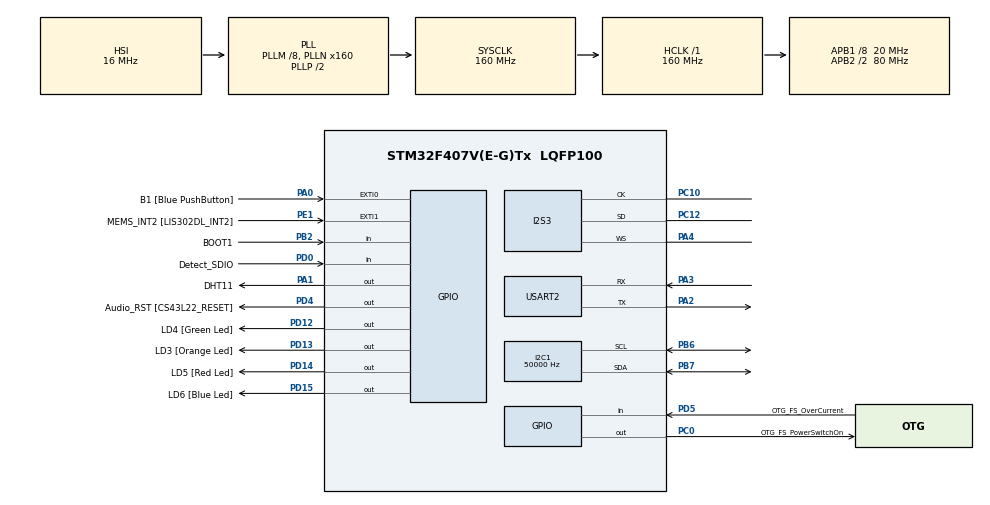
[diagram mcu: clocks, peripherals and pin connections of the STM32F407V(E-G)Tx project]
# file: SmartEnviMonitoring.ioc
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Dma.Request0=USART2_RX
Dma.USART2_RX.0.Direction=DMA_PERIPH_TO_MEMORY
Dma.USART2_RX.0.FIFOMode=DMA_FIFOMODE_DISABLE
Dma.USART2_RX.0.Instance=DMA1_Stream5
Dma.USART2_RX.0.MemDataAlignment=DMA_MDATAALIGN_BYTE
Dma.USART2_RX.0.MemInc=DMA_MINC_ENABLE
Dma.USART2_RX.0.Mode=DMA_NORMAL
Dma.USART2_RX.0.PeriphDataAlignment=DMA_PDATAALIGN_BYTE
Dma.USART2_RX.0.PeriphInc=DMA_PINC_DISABLE
Dma.USART2_RX.0.Priority=DMA_PRIORITY_LOW
I2C1.ClockSpeed=50000
I2S3.AudioFreq=I2S_AUDIOFREQ_32K
I2S3.ErrorAudioFreq=-0.26 %
I2S3.FullDuplexMode=I2S_FULLDUPLEXMODE_DISABLE
I2S3.Instance=SPI$Index
I2S3.RealAudioFreq=31.914 KHz
I2S3.VirtualMode=I2S_MODE_MASTER
Mcu.Family=STM32F4
Mcu.Name=STM32F407V(E-G)Tx
Mcu.Package=LQFP100
NVIC.DMA1_Stream5_IRQn=true\:6\:0\:true\:false\:true\:false\:true\:true
NVIC.PriorityGroup=NVIC_PRIORITYGROUP_4
NVIC.TIM6_DAC_IRQn=true\:0\:0\:true\:false\:true\:false\:true\:true
NVIC.TIM7_IRQn=true\:5\:0\:true\:false\:true\:true\:true\:true
NVIC.TIM8_UP_TIM13_IRQn=true\:5\:0\:true\:false\:true\:true\:true\:true
NVIC.TimeBase=TIM6_DAC_IRQn
NVIC.TimeBaseIP=TIM6
NVIC.USART2_IRQn=true\:5\:0\:true\:false\:true\:true\:true\:true
PA0-WKUP.GPIO_Label=B1 [Blue PushButton]
PA0-WKUP.Signal=GPXTI0
PA1.GPIO_Label=DHT11
PA1.PinState=GPIO_PIN_RESET
PA1.Signal=GPIO_Output
PA10.GPIO_Label=OTG_FS_ID
PA10.GPIO_Mode=GPIO_MODE_AF_PP
PA10.GPIO_PuPd=GPIO_NOPULL
PA10.GPIO_Speed=GPIO_SPEED_FREQ_LOW
PA10.Signal=USB_OTG_FS_ID
PA11.GPIO_Label=OTG_FS_DM
PA11.GPIO_Mode=GPIO_MODE_AF_PP
PA11.GPIO_PuPd=GPIO_NOPULL
PA11.GPIO_Speed=GPIO_SPEED_FREQ_LOW
PA11.Signal=USB_OTG_FS_DM
PA12.GPIO_Label=OTG_FS_DP
PA12.GPIO_Mode=GPIO_MODE_AF_PP
PA12.GPIO_PuPd=GPIO_NOPULL
PA12.GPIO_Speed=GPIO_SPEED_FREQ_LOW
PA12.Signal=USB_OTG_FS_DP
PA13.GPIO_Label=SWDIO
PA13.Signal=SYS_JTMS-SWDIO
PA14.GPIO_Label=SWCLK
PA14.Signal=SYS_JTCK-SWCLK
PA2.Mode=Asynchronous
PA2.Signal=USART2_TX
PA3.Mode=Asynchronous
PA3.Signal=USART2_RX
PA4.Mode=Half_Duplex_Master
PA4.Signal=I2S3_WS
PA9.GPIO_Label=VBUS_FS
PA9.GPIO_Mode=GPIO_MODE_INPUT
PA9.GPIO_PuPd=GPIO_NOPULL
PA9.Signal=USB_OTG_FS_VBUS
PB10.GPIO_Label=CLK_IN [MP45DT02_CLK]
PB10.GPIO_Mode=GPIO_MODE_AF_PP
PB10.GPIO_PuPd=GPIO_NOPULL
PB10.GPIO_Speed=GPIO_SPEED_FREQ_LOW
PB10.Signal=I2S2_CK
PB2.GPIO_Label=BOOT1
PB2.GPIO_Mode=GPIO_MODE_INPUT
PB2.GPIO_PuPd=GPIO_NOPULL
PB2.Signal=GPIO_Input
PB3.GPIO_Label=SWO
PB3.Signal=SYS_JTDO-SWO
PB6.GPIO_Mode=GPIO_MODE_AF_OD
PB6.GPIO_Pu=GPIO_NOPULL
PB6.GPIO_PuPd=GPIO_NOPULL
PB6.GPIO_Speed=GPIO_SPEED_FREQ_VERY_HIGH
PB6.Mode=I2C
PB6.Signal=I2C1_SCL
PB7.GPIO_Pu=GPIO_NOPULL
PB7.Mode=I2C
PB7.Signal=I2C1_SDA
PC0.GPIO_Label=OTG_FS_PowerSwitchOn
PC0.GPIO_PuPd=GPIO_NOPULL
PC0.GPIO_Speed=GPIO_SPEED_FREQ_LOW
PC0.PinState=GPIO_PIN_SET
PC0.Signal=GPIO_Output
PC10.Mode=Half_Duplex_Master
PC10.Signal=I2S3_CK
PC12.Mode=Half_Duplex_Master
PC12.Signal=I2S3_SD
PC14-OSC32_IN.GPIO_Label=PC14-OSC32_IN
PC14-OSC32_IN.Signal=RCC_OSC32_IN
PC15-OSC32_OUT.GPIO_Label=PC15-OSC32_OUT
PC15-OSC32_OUT.Signal=RCC_OSC32_OUT
PD0.GPIO_Label=Detect_SDIO
PD0.Signal=GPIO_Input
PD12.GPIO_Label=LD4 [Green Led]
PD12.GPIO_PuPd=GPIO_NOPULL
PD12.GPIO_Speed=GPIO_SPEED_FREQ_LOW
PD12.Signal=GPIO_Output
PD13.GPIO_Label=LD3 [Orange Led]
PD13.GPIO_PuPd=GPIO_NOPULL
PD13.GPIO_Speed=GPIO_SPEED_FREQ_LOW
PD13.Signal=GPIO_Output
PD14.GPIO_Label=LD5 [Red Led]
PD14.GPIO_PuPd=GPIO_NOPULL
PD14.GPIO_Speed=GPIO_SPEED_FREQ_LOW
PD14.Signal=GPIO_Output
PD15.GPIO_Label=LD6 [Blue Led]
PD15.GPIO_PuPd=GPIO_NOPULL
PD15.GPIO_Speed=GPIO_SPEED_FREQ_LOW
PD15.Signal=GPIO_Output
PD4.GPIO_Label=Audio_RST [CS43L22_RESET]
PD4.GPIO_PuPd=GPIO_NOPULL
PD4.GPIO_Speed=GPIO_SPEED_FREQ_LOW
PD4.Signal=GPIO_Output
PD5.GPIO_Label=OTG_FS_OverCurrent
PD5.GPIO_Mode=GPIO_MODE_INPUT
PD5.GPIO_PuPd=GPIO_NOPULL
PD5.Signal=GPIO_Input
PE1.GPIO_Label=MEMS_INT2 [LIS302DL_INT2]
PE1.GPIO_ModeDefaultEXTI=GPIO_MODE_EVT_RISING
PE1.GPIO_PuPd=GPIO_NOPULL
PE1.Signal=GPXTI1
PH0-OSC_IN.GPIO_Label=PH0-OSC_IN
PH0-OSC_IN.Signal=RCC_OSC_IN
PH1-OSC_OUT.GPIO_Label=PH1-OSC_OUT
PH1-OSC_OUT.Signal=RCC_OSC_OUT
ProjectManager.HeapSize=0x200
ProjectManager.StackSize=0x400
ProjectManager.TargetToolchain=STM32CubeIDE
RCC.48MHZClocksFreq_Value=40000000
RCC.AHBFreq_Value=160000000
RCC.APB1CLKDivider=RCC_HCLK_DIV8
RCC.APB1Freq_Value=20000000
RCC.APB1TimFreq_Value=40000000
RCC.APB2CLKDivider=RCC_HCLK_DIV2
RCC.APB2Freq_Value=80000000
RCC.APB2TimFreq_Value=160000000
RCC.CortexFreq_Value=160000000
RCC.HCLKFreq_Value=160000000
RCC.HSE_VALUE=8000000
RCC.HSI_VALUE=16000000
RCC.LSE_VALUE=32768
RCC.PLLM=8
RCC.PLLN=160
RCC.PLLQ=8
RCC.SYSCLKFreq_VALUE=160000000
RCC.SYSCLKSource=RCC_SYSCLKSOURCE_PLLCLK
RCC.VCOOutputFreq_Value=320000000
RTC.Format=RTC_FORMAT_BIN
TIM13.Prescaler=40000 - 1
TIM7.Prescaler=40 - 1
USART2.VirtualMode=VM_ASYNC
VP_RTC_VS_RTC_Activate.Mode=RTC_Enabled
VP_RTC_VS_RTC_Calendar.Mode=RTC_Calendar
VP_SYS_VS_tim6.Mode=TIM6
VP_TIM13_VS_ClockSourceINT.Mode=Enable_Timer
VP_TIM7_VS_ClockSourceINT.Mode=Enable_Timer
board=STM32F407G-DISC1

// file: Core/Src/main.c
/* USER CODE BEGIN Header */
/**
 ******************************************************************************
 * @file           : main.c
 * @brief          : Main program body
 ******************************************************************************
 * @attention
 *
 * Copyright (c) 2024 STMicroelectronics.
 * All rights reserved.
 *
 * This software is licensed under terms that can be found in the LICENSE file
 * in the root directory of this software component.
 * If no LICENSE file comes with this software, it is provided AS-IS.
 *
 ******************************************************************************
 */
/* USER CODE END Header */
#include "main.h"

/* USER CODE BEGIN Includes */
#include <stdio.h>
#include <stdbool.h>
#include <stdint.h>
#include <string.h>
#include <stdlib.h>

#include "FreeRTOS.h"
#include "FreeRTOSConfig.h"
#include "task.h"
#include "semphr.h"
#include "timers.h"

#include "dht11.h"
#include "lcd.h"
#include "utils.h"
#include "esp32at.h"
#include "config_storage.h"
#include "ble_config.h"
#include "comm.h"
#if defined(__has_include)
#if __has_include("local_config.h")
#include "local_config.h"
#endif
#endif
/* USER CODE END Includes */

/* USER CODE BEGIN PD */

//esp
#define RECV_BUFFER_NUM 5
#define RECV_BUFFER_SIZE 300
#define SEND_BUFFER_SIZE 256
#define WAIT_RES_TIMEOUTMS ((uint16_t)15000)
#define RECONNECT_DELAY_MS ((uint16_t)5000)
#define URL_BUFFER_SIZE 128
#ifndef WIFI_SSID
#define WIFI_SSID ""
#endif
#ifndef WIFI_PASS
#define WIFI_PASS ""
#endif
#ifndef DEFAULT_SERVER_IP
#define DEFAULT_SERVER_IP "192.168.50.135"
#endif
#ifndef DEFAULT_MQTT_PORT
#define DEFAULT_MQTT_PORT "1883"
#endif
#ifndef HTTP_PORT_STR
#define HTTP_PORT_STR "8080"
#endif
#ifndef HTTP_DEVICE_PATH
#define HTTP_DEVICE_PATH "/api/device"
#endif
#ifndef HTTP_WEATHER_PATH
#define HTTP_WEATHER_PATH "/api/weather"
#endif
#ifndef MQTT_ENABLED
#define MQTT_ENABLED 0
#endif

char http_device_url[URL_BUFFER_SIZE] = "http://" DEFAULT_SERVER_IP ":" HTTP_PORT_STR HTTP_DEVICE_PATH;
char http_weather_url[URL_BUFFER_SIZE] = "http://" DEFAULT_SERVER_IP ":" HTTP_PORT_STR HTTP_WEATHER_PATH;
char server_ip[CONFIG_STORAGE_MAX_IP_LEN] = DEFAULT_SERVER_IP;
char mqtt_port[] = DEFAULT_MQTT_PORT;

/* USER CODE END PD */

I2C_HandleTypeDef hi2c1;

I2S_HandleTypeDef hi2s3;

RTC_HandleTypeDef hrtc;

TIM_HandleTypeDef htim7;
TIM_HandleTypeDef htim13;

UART_HandleTypeDef huart2;
DMA_HandleTypeDef hdma_usart2_rx;

/* USER CODE BEGIN PV */

/* system */
char device_id[DEVICE_UID_LEN];
DateTime_t query_time;
TimerHandle_t mstim;
volatile bool server_ready = false;
static char pending_server_ip[CONFIG_STORAGE_MAX_IP_LEN];
static volatile bool pending_ip_update = false;
static bool pending_ip_persist = false;
static bool pending_ip_reconnect = false;

/* lcd */
SemaphoreHandle_t lcd_mutex;
LCDContent_t lcd_content;
SemaphoreHandle_t config_mutex;

/* measurement */
DHT11Handle dht;
uint8_t tempc = 0;
uint8_t humidity = 0;
uint32_t meas_intv_sec = 10;

/* esp at */
CommHandle_t hcomm;
uint8_t send_buffer[SEND_BUFFER_SIZE];
uint16_t send_data_len = 0;
uint8_t recv_buffers[RECV_BUFFER_NUM][RECV_BUFFER_SIZE];
uint16_t recv_sizes[RECV_BUFFER_NUM] = {0};
static volatile bool uart2_rx_restart = false;

volatile int recv_buffer_idx = 0;
volatile int recv_read_idx = 0;

volatile uint32_t meas_send_count = 0;
volatile uint32_t meas_recv_count = 0;

/* os */
const char *INIT_TASK_NAME = "Init";
const char *MEAS_TASK_NAME = "Meas";
const char *ESP_RECV_TASK_NAME = "EspRecv";
TaskHandle_t meas_htask;
TaskHandle_t recv_htask;
TaskHandle_t init_htask;
/* USER CODE END PV */

void SystemClock_Config(void);
static void MX_GPIO_Init(void);
static void MX_DMA_Init(void);
static void MX_I2C1_Init(void);
static void MX_RTC_Init(void);
static void MX_USART2_UART_Init(void);
static void MX_TIM7_Init(void);
static void MX_TIM13_Init(void);
static void MX_I2S3_Init(void);
/* USER CODE BEGIN PFP */
BaseType_t RTC_SetValue(DateTime_t *datetime);
BaseType_t ESP32AT_InitWrapper(void);
BaseType_t Server_Conn(CommHandle_t *hcomm);
BaseType_t Web_Fetch_Time(CommHandle_t *hcomm, DateTime_t *datetime);
void Build_Weather_Message(char* msg, const char* prefix, uint8_t value);
static void Ble_Apply_Ip(const char* ip, bool persist, bool reconnect);
static bool Apply_Server_Ip_Internal(const char* ip, bool persist, bool reconnect);
static bool Build_Http_Urls(const char* ip);
static bool Try_Server_Connect(bool sync_time);

void Init_Task(void* arg);
//runtime
void Meas_Task(void* arg);
void Esp_Rec_Task(void* arg);
/* USER CODE END PFP */

int main(void)
{

  /* MCU Configuration--------------------------------------------------------*/

  /* Reset of all peripherals, Initializes the Flash interface and the Systick. */
  HAL_Init();

  /* Configure the system clock */
  SystemClock_Config();

  /* Initialize all configured peripherals */
  MX_GPIO_Init();
  MX_DMA_Init();
  MX_I2C1_Init();
  MX_RTC_Init();
  MX_USART2_UART_Init();
  MX_TIM7_Init();
  MX_TIM13_Init();
  MX_I2S3_Init();
  /* USER CODE BEGIN 2 */
	ESP32AT_SetUart(&huart2);

	LCD_Init(&hi2c1);
	LCD_SetContent_Refresh(&hi2c1, &lcd_content, "Init...", ".");

	BaseType_t status = pdPASS;
	config_mutex = xSemaphoreCreateMutex();
	configASSERT(config_mutex != NULL);
	Ble_Config_SetApplyFn(Ble_Apply_Ip);
	//create the initializing task
	status &= xTaskCreate(Init_Task, INIT_TASK_NAME,
			(configSTACK_DEPTH_TYPE)4096, NULL, 2, &init_htask);
	configASSERT(status == pdPASS);

	//create measuring task
	status &= xTaskCreate(Meas_Task, MEAS_TASK_NAME,
			(configSTACK_DEPTH_TYPE)4096, NULL, 1, &meas_htask);
	configASSERT(status == pdPASS);

	//create the task for receiving response from esp32
	status &= xTaskCreate(Esp_Rec_Task, ESP_RECV_TASK_NAME,
			(configSTACK_DEPTH_TYPE)4096, NULL, 3, &recv_htask);
	configASSERT(status == pdPASS);

	vTaskStartScheduler();
  /* USER CODE END 2 */

  /* Infinite loop */
	while (1) {

	}
}

void SystemClock_Config(void)
{
  RCC_OscInitTypeDef RCC_OscInitStruct = {0};
  RCC_ClkInitTypeDef RCC_ClkInitStruct = {0};

  /** Configure the main internal regulator output voltage
  */
  __HAL_RCC_PWR_CLK_ENABLE();
  __HAL_PWR_VOLTAGESCALING_CONFIG(PWR_REGULATOR_VOLTAGE_SCALE1);

  /** Initializes the RCC Oscillators according to the specified parameters
  * in the RCC_OscInitTypeDef structure.
  */
  RCC_OscInitStruct.OscillatorType = RCC_OSCILLATORTYPE_HSI|RCC_OSCILLATORTYPE_LSI;
  RCC_OscInitStruct.HSIState = RCC_HSI_ON;
  RCC_OscInitStruct.HSICalibrationValue = RCC_HSICALIBRATION_DEFAULT;
  RCC_OscInitStruct.LSIState = RCC_LSI_ON;
  RCC_OscInitStruct.PLL.PLLState = RCC_PLL_ON;
  RCC_OscInitStruct.PLL.PLLSource = RCC_PLLSOURCE_HSI;
  RCC_OscInitStruct.PLL.PLLM = 8;
  RCC_OscInitStruct.PLL.PLLN = 160;
  RCC_OscInitStruct.PLL.PLLP = RCC_PLLP_DIV2;
  RCC_OscInitStruct.PLL.PLLQ = 8;
  if (HAL_RCC_OscConfig(&RCC_OscInitStruct) != HAL_OK)
  {
    Error_Handler();
  }

  /** Initializes the CPU, AHB and APB buses clocks
  */
  RCC_ClkInitStruct.ClockType = RCC_CLOCKTYPE_HCLK|RCC_CLOCKTYPE_SYSCLK
                              |RCC_CLOCKTYPE_PCLK1|RCC_CLOCKTYPE_PCLK2;
  RCC_ClkInitStruct.SYSCLKSource = RCC_SYSCLKSOURCE_PLLCLK;
  RCC_ClkInitStruct.AHBCLKDivider = RCC_SYSCLK_DIV1;
  RCC_ClkInitStruct.APB1CLKDivider = RCC_HCLK_DIV8;
  RCC_ClkInitStruct.APB2CLKDivider = RCC_HCLK_DIV2;

  if (HAL_RCC_ClockConfig(&RCC_ClkInitStruct, FLASH_LATENCY_5) != HAL_OK)
  {
    Error_Handler();
  }
}

static void MX_I2C1_Init(void)
{

  hi2c1.Instance = I2C1;
  hi2c1.Init.ClockSpeed = 50000;
  hi2c1.Init.DutyCycle = I2C_DUTYCYCLE_2;
  hi2c1.Init.OwnAddress1 = 0;
  hi2c1.Init.AddressingMode = I2C_ADDRESSINGMODE_7BIT;
  hi2c1.Init.DualAddressMode = I2C_DUALADDRESS_DISABLE;
  hi2c1.Init.OwnAddress2 = 0;
  hi2c1.Init.GeneralCallMode = I2C_GENERALCALL_DISABLE;
  hi2c1.Init.NoStretchMode = I2C_NOSTRETCH_DISABLE;
  if (HAL_I2C_Init(&hi2c1) != HAL_OK)
  {
    Error_Handler();
  }

}

static void MX_I2S3_Init(void)
{

  hi2s3.Instance = SPI3;
  hi2s3.Init.Mode = I2S_MODE_MASTER_TX;
  hi2s3.Init.Standard = I2S_STANDARD_PHILIPS;
  hi2s3.Init.DataFormat = I2S_DATAFORMAT_16B;
  hi2s3.Init.MCLKOutput = I2S_MCLKOUTPUT_DISABLE;
  hi2s3.Init.AudioFreq = I2S_AUDIOFREQ_32K;
  hi2s3.Init.CPOL = I2S_CPOL_LOW;
  hi2s3.Init.ClockSource = I2S_CLOCK_PLL;
  hi2s3.Init.FullDuplexMode = I2S_FULLDUPLEXMODE_DISABLE;
  if (HAL_I2S_Init(&hi2s3) != HAL_OK)
  {
    Error_Handler();
  }

}

static void MX_RTC_Init(void)
{

  RTC_TimeTypeDef sTime = {0};
  RTC_DateTypeDef sDate = {0};

  /** Initialize RTC Only
  */
  hrtc.Instance = RTC;
  hrtc.Init.HourFormat = RTC_HOURFORMAT_24;
  hrtc.Init.AsynchPrediv = 127;
  hrtc.Init.SynchPrediv = 255;
  hrtc.Init.OutPut = RTC_OUTPUT_DISABLE;
  hrtc.Init.OutPutPolarity = RTC_OUTPUT_POLARITY_HIGH;
  hrtc.Init.OutPutType = RTC_OUTPUT_TYPE_OPENDRAIN;
  if (HAL_RTC_Init(&hrtc) != HAL_OK)
  {
    Error_Handler();
  }

  /** Initialize RTC and set the Time and Date
  */
  sTime.Hours = 0;
  sTime.Minutes = 0;
  sTime.Seconds = 0;
  sTime.DayLightSaving = RTC_DAYLIGHTSAVING_NONE;
  sTime.StoreOperation = RTC_STOREOPERATION_RESET;
  if (HAL_RTC_SetTime(&hrtc, &sTime, RTC_FORMAT_BIN) != HAL_OK)
  {
    Error_Handler();
  }
  sDate.WeekDay = RTC_WEEKDAY_MONDAY;
  sDate.Month = RTC_MONTH_JANUARY;
  sDate.Date = 1;
  sDate.Year = 0;

  if (HAL_RTC_SetDate(&hrtc, &sDate, RTC_FORMAT_BIN) != HAL_OK)
  {
    Error_Handler();
  }

}

static void MX_TIM7_Init(void)
{

  TIM_MasterConfigTypeDef sMasterConfig = {0};

  htim7.Instance = TIM7;
  htim7.Init.Prescaler = 40 - 1;
  htim7.Init.CounterMode = TIM_COUNTERMODE_UP;
  htim7.Init.Period = 65535;
  htim7.Init.AutoReloadPreload = TIM_AUTORELOAD_PRELOAD_DISABLE;
  if (HAL_TIM_Base_Init(&htim7) != HAL_OK)
  {
    Error_Handler();
  }
  sMasterConfig.MasterOutputTrigger = TIM_TRGO_RESET;
  sMasterConfig.MasterSlaveMode = TIM_MASTERSLAVEMODE_DISABLE;
  if (HAL_TIMEx_MasterConfigSynchronization(&htim7, &sMasterConfig) != HAL_OK)
  {
    Error_Handler();
  }

}

static void MX_TIM13_Init(void)
{

  htim13.Instance = TIM13;
  htim13.Init.Prescaler = 40000 - 1;
  htim13.Init.CounterMode = TIM_COUNTERMODE_UP;
  htim13.Init.Period = 65535;
  htim13.Init.ClockDivision = TIM_CLOCKDIVISION_DIV1;
  htim13.Init.AutoReloadPreload = TIM_AUTORELOAD_PRELOAD_DISABLE;
  if (HAL_TIM_Base_Init(&htim13) != HAL_OK)
  {
    Error_Handler();
  }

}

static void MX_USART2_UART_Init(void)
{

  huart2.Instance = USART2;
  huart2.Init.BaudRate = 115200;
  huart2.Init.WordLength = UART_WORDLENGTH_8B;
  huart2.Init.StopBits = UART_STOPBITS_1;
  huart2.Init.Parity = UART_PARITY_NONE;
  huart2.Init.Mode = UART_MODE_TX_RX;
  huart2.Init.HwFlowCtl = UART_HWCONTROL_NONE;
  huart2.Init.OverSampling = UART_OVERSAMPLING_16;
  if (HAL_UART_Init(&huart2) != HAL_OK)
  {
    Error_Handler();
  }

}

static void MX_DMA_Init(void)
{

  /* DMA controller clock enable */
  __HAL_RCC_DMA1_CLK_ENABLE();

  /* DMA interrupt init */
  /* DMA1_Stream5_IRQn interrupt configuration */
  HAL_NVIC_SetPriority(DMA1_Stream5_IRQn, 6, 0);
  HAL_NVIC_EnableIRQ(DMA1_Stream5_IRQn);

}

static void MX_GPIO_Init(void)
{
  GPIO_InitTypeDef GPIO_InitStruct = {0};

  /* GPIO Ports Clock Enable */
  __HAL_RCC_GPIOC_CLK_ENABLE();
  __HAL_RCC_GPIOH_CLK_ENABLE();
  __HAL_RCC_GPIOA_CLK_ENABLE();
  __HAL_RCC_GPIOB_CLK_ENABLE();
  __HAL_RCC_GPIOD_CLK_ENABLE();
  __HAL_RCC_GPIOE_CLK_ENABLE();

  /*Configure GPIO pin Output Level */
  HAL_GPIO_WritePin(OTG_FS_PowerSwitchOn_GPIO_Port, OTG_FS_PowerSwitchOn_Pin, GPIO_PIN_SET);

  /*Configure GPIO pin Output Level */
  HAL_GPIO_WritePin(DHT11_GPIO_Port, DHT11_Pin, GPIO_PIN_RESET);

  /*Configure GPIO pin Output Level */
  HAL_GPIO_WritePin(GPIOD, LD4_Pin|LD3_Pin|LD5_Pin|LD6_Pin
                          |Audio_RST_Pin, GPIO_PIN_RESET);

  /*Configure GPIO pin : OTG_FS_PowerSwitchOn_Pin */
  GPIO_InitStruct.Pin = OTG_FS_PowerSwitchOn_Pin;
  GPIO_InitStruct.Mode = GPIO_MODE_OUTPUT_PP;
  GPIO_InitStruct.Pull = GPIO_NOPULL;
  GPIO_InitStruct.Speed = GPIO_SPEED_FREQ_LOW;
  HAL_GPIO_Init(OTG_FS_PowerSwitchOn_GPIO_Port, &GPIO_InitStruct);

  /*Configure GPIO pin : B1_Pin */
  GPIO_InitStruct.Pin = B1_Pin;
  GPIO_InitStruct.Mode = GPIO_MODE_IT_RISING;
  GPIO_InitStruct.Pull = GPIO_NOPULL;
  HAL_GPIO_Init(B1_GPIO_Port, &GPIO_InitStruct);

  /*Configure GPIO pin : DHT11_Pin */
  GPIO_InitStruct.Pin = DHT11_Pin;
  GPIO_InitStruct.Mode = GPIO_MODE_OUTPUT_PP;
  GPIO_InitStruct.Pull = GPIO_NOPULL;
  GPIO_InitStruct.Speed = GPIO_SPEED_FREQ_LOW;
  HAL_GPIO_Init(DHT11_GPIO_Port, &GPIO_InitStruct);

  /*Configure GPIO pin : BOOT1_Pin */
  GPIO_InitStruct.Pin = BOOT1_Pin;
  GPIO_InitStruct.Mode = GPIO_MODE_INPUT;
  GPIO_InitStruct.Pull = GPIO_NOPULL;
  HAL_GPIO_Init(BOOT1_GPIO_Port, &GPIO_InitStruct);

  /*Configure GPIO pin : CLK_IN_Pin */
  GPIO_InitStruct.Pin = CLK_IN_Pin;
  GPIO_InitStruct.Mode = GPIO_MODE_AF_PP;
  GPIO_InitStruct.Pull = GPIO_NOPULL;
  GPIO_InitStruct.Speed = GPIO_SPEED_FREQ_LOW;
  GPIO_InitStruct.Alternate = GPIO_AF5_SPI2;
  HAL_GPIO_Init(CLK_IN_GPIO_Port, &GPIO_InitStruct);

  /*Configure GPIO pins : LD4_Pin LD3_Pin LD5_Pin LD6_Pin
                           Audio_RST_Pin */
  GPIO_InitStruct.Pin = LD4_Pin|LD3_Pin|LD5_Pin|LD6_Pin
                          |Audio_RST_Pin;
  GPIO_InitStruct.Mode = GPIO_MODE_OUTPUT_PP;
  GPIO_InitStruct.Pull = GPIO_NOPULL;
  GPIO_InitStruct.Speed = GPIO_SPEED_FREQ_LOW;
  HAL_GPIO_Init(GPIOD, &GPIO_InitStruct);

  /*Configure GPIO pin : VBUS_FS_Pin */
  GPIO_InitStruct.Pin = VBUS_FS_Pin;
  GPIO_InitStruct.Mode = GPIO_MODE_INPUT;
  GPIO_InitStruct.Pull = GPIO_NOPULL;
  HAL_GPIO_Init(VBUS_FS_GPIO_Port, &GPIO_InitStruct);

  /*Configure GPIO pins : OTG_FS_ID_Pin OTG_FS_DM_Pin OTG_FS_DP_Pin */
  GPIO_InitStruct.Pin = OTG_FS_ID_Pin|OTG_FS_DM_Pin|OTG_FS_DP_Pin;
  GPIO_InitStruct.Mode = GPIO_MODE_AF_PP;
  GPIO_InitStruct.Pull = GPIO_NOPULL;
  GPIO_InitStruct.Speed = GPIO_SPEED_FREQ_LOW;
  GPIO_InitStruct.Alternate = GPIO_AF10_OTG_FS;
  HAL_GPIO_Init(GPIOA, &GPIO_InitStruct);

  /*Configure GPIO pins : Detect_SDIO_Pin OTG_FS_OverCurrent_Pin */
  GPIO_InitStruct.Pin = Detect_SDIO_Pin|OTG_FS_OverCurrent_Pin;
  GPIO_InitStruct.Mode = GPIO_MODE_INPUT;
  GPIO_InitStruct.Pull = GPIO_NOPULL;
  HAL_GPIO_Init(GPIOD, &GPIO_InitStruct);

  /*Configure GPIO pin : MEMS_INT2_Pin */
  GPIO_InitStruct.Pin = MEMS_INT2_Pin;
  GPIO_InitStruct.Mode = GPIO_MODE_EVT_RISING;
  GPIO_InitStruct.Pull = GPIO_NOPULL;
  HAL_GPIO_Init(MEMS_INT2_GPIO_Port, &GPIO_InitStruct);

}

/* USER CODE BEGIN 4 */

//----- task handler
void Init_Task(void* arg)
{
	Read_Device_Uid(device_id);
	bool applied = false;
	char stored_ip[CONFIG_STORAGE_MAX_IP_LEN];
	if (ConfigStorage_LoadIp(stored_ip, sizeof(stored_ip))) {
		applied = Apply_Server_Ip_Internal(stored_ip, false, false);
	}
	if (!applied) {
		Build_Http_Urls(server_ip);
		Build_CommHandle(&hcomm, http_device_url, http_weather_url, server_ip, mqtt_port, device_id, &htim13);
	}
	Try_Server_Connect(true);

	vTaskDelete(NULL);
	//xTaskNotify(meas_htask, 0, 0);
	/*
	 * If the task implementation ever exits the above loop, then the task
	 * must be deleted before reaching the end of its implementing function.
	 * When NULL is passed as a parameter to the vTaskDelete() API function,
	 * this indicates that the task to be deleted is the calling (this) task.
	 */
	//xTaskNotifyWait(0, 0x00, NULL, portMAX_DELAY);
	//TickType_t xDelay = pdMS_TO_TICKS(meas_intv_sec * 1000000);
	//vTaskDelay(xDelay);
}

//task for receving
void Esp_Rec_Task(void* arg)
{
	HAL_UARTEx_ReceiveToIdle_DMA(&huart2, recv_buffers[recv_buffer_idx], RECV_BUFFER_SIZE);
	for (;;) {
		xTaskNotifyWait(0, 0x00, NULL, portMAX_DELAY);
		if (uart2_rx_restart) {
			uart2_rx_restart = false;
			HAL_UARTEx_ReceiveToIdle_DMA(&huart2, recv_buffers[recv_buffer_idx], RECV_BUFFER_SIZE);
		}
		while (recv_read_idx != recv_buffer_idx){
			uint16_t size = recv_sizes[recv_read_idx];
			if (size > 0) {
				Ble_Config_HandleRx(recv_buffers[recv_read_idx], size);
				ESP32AT_Input(recv_buffers[recv_read_idx], size);
			}
			recv_read_idx = (recv_read_idx + 1) % RECV_BUFFER_NUM;
		}
		//waitNotiResut = xTaskNotifyWait(0, 0, &ulNotifiedValue, portMAX_DELAY);
	}
	/*
	 * If the task implementation ever exits the above loop, then the task
	 * must be deleted before reaching the end of its implementing function.
	 * When NULL is passed as a parameter to the vTaskDelete() API function,
	 * this indicates that the task to be deleted is the calling (this) task.
	 */

	vTaskDelete(NULL);
}

void Meas_Task(void* arg)
{
	DHT11_Init(&dht, &htim7, DHT11_GPIO_Port, DHT11_Pin);
	char msg1[LCD_CHAR_NUM];
	char msg2[LCD_CHAR_NUM];
	TickType_t xDelay;
	for (;;) {
		if (pending_ip_update) {
			char ip[CONFIG_STORAGE_MAX_IP_LEN];
			bool persist = false;
			bool reconnect = false;
			if (config_mutex != NULL) {
				xSemaphoreTake(config_mutex, portMAX_DELAY);
			}
			memcpy(ip, pending_server_ip, sizeof(ip));
			persist = pending_ip_persist;
			reconnect = pending_ip_reconnect;
			pending_ip_update = false;
			if (config_mutex != NULL) {
				xSemaphoreGive(config_mutex);
			}
			Apply_Server_Ip_Internal(ip, persist, reconnect);
		}

		if (Ble_Config_ShouldWaitIp()) {
			vTaskDelay(pdMS_TO_TICKS(500));
			continue;
		}

		ErrorStatus dht_status = DHT11_Read(&dht);
		if (dht_status != ERROR) {
			tempc = dht.Temperature;
			humidity = dht.Humidty;
			if (!server_ready) {
				Try_Server_Connect(false);
			}
			if (server_ready) {
				ErrorStatus build_status = Build_WeatherReportQuery((char*)send_buffer, &hcomm, tempc, humidity, device_id);
				if (build_status != ERROR) {
					ErrorStatus post_status = Http_Post_Url((char*)send_buffer, POST_SUCCESS);
					if (post_status == SUCCESS){
						meas_send_count++;
						Build_Weather_Message(msg1, "Temp", tempc);
						Build_Weather_Message(msg2, "Humi", humidity);
						LCD_SetContent_Refresh(&hi2c1, &lcd_content, msg1, msg2);
					}
					else {
						server_ready = false;
					}
				}
			}
		}
		else {

		}
		xDelay = pdMS_TO_TICKS(meas_intv_sec * 1000);
		vTaskDelay(xDelay);
	}
	/*
	 * If the task implementation ever exits the above loop, then the task
	 * must be deleted before reaching the end of its implementing function.
	 * When NULL is passed as a parameter to the vTaskDelete() API function,
	 * this indicates that the task to be deleted is the calling (this) task.
	 */
	vTaskDelete(NULL);
}

//----- functions
BaseType_t ESP32AT_InitWrapper(void)
{
	ESP32AT_SetUart(&huart2);
	return ESP32AT_Init(WIFI_SSID, WIFI_PASS, WAIT_RES_TIMEOUTMS) ? pdPASS : pdFAIL;
}

BaseType_t Server_Conn(CommHandle_t *hcomm)
{
	if (hcomm == NULL) {
		return pdFAIL;
	}

	if (Post_Login(hcomm) != SUCCESS){
		LCD_SetContent_Refresh(&hi2c1, &lcd_content, "PostLoginFail.", "");
		printf("post login failed\n");
		return pdFAIL;
	}

	if (!MQTT_ENABLED) {
		return pdPASS;
	}
	uint16_t port = (uint16_t)atoi(hcomm ->MQTTPort);
	if (port == 0) {
		LCD_SetContent_Refresh(&hi2c1, &lcd_content, "MQTTPortFail.", "");
		return pdFAIL;
	}

	if (!ESP32AT_MqttConfig("123", "123", "123", 60)) {
		LCD_SetContent_Refresh(&hi2c1, &lcd_content, "MQTTConfigFail.", "");
		return pdFAIL;
	}

	if (!ESP32AT_MqttConnect(hcomm ->ServerIp, port, WAIT_RES_TIMEOUTMS)) {
		LCD_SetContent_Refresh(&hi2c1, &lcd_content, "MQTTConnFail.", "");
		printf("mqtt conn failed\n");
		return pdFAIL;
	}

	size_t len = 0;
	memcpy(send_buffer, hcomm ->DeviceId, DEVICE_UID_LEN);
	len += DEVICE_UID_LEN;
	memcpy(send_buffer + len, SUFFIX_REQ, strlen(SUFFIX_REQ));
	len += strlen(SUFFIX_REQ);
	send_buffer[len++] = '\0';

	if (!ESP32AT_MqttSubscribe((char*)send_buffer, 1, WAIT_RES_TIMEOUTMS)) {
		LCD_SetContent_Refresh(&hi2c1, &lcd_content, "MQTTSubFail.", "");
		printf("mqtt sub failed\n");
		return pdFAIL;
	}

	len = DEVICE_UID_LEN;
	memcpy(send_buffer + len, SUFFIX_RES, strlen(SUFFIX_RES));
	len += strlen(SUFFIX_RES);
	send_buffer[len++] = '\0';

	if (!ESP32AT_MqttSubscribe((char*)send_buffer, 1, WAIT_RES_TIMEOUTMS)) {
		printf("mqtt sub failed\n");
		return pdFAIL;
	}

	return pdPASS;
}

BaseType_t Web_Fetch_Time(CommHandle_t *hcomm, DateTime_t *datetime)
{
	ErrorStatus status = Get_CurrentTime(hcomm, datetime);
	if (status == ERROR){
		LCD_SetContent_Refresh(&hi2c1, &lcd_content, "TimeFetchFail", ".");
		printf("time fetch failed\n");
		return pdFAIL;
	}

	BaseType_t retval = RTC_SetValue(datetime);
	if (retval){
		printf("timeFormatSucc\n");
	}
	else{
		printf("timeFormatErr\n");
	}
	return retval;
}

BaseType_t RTC_SetValue(DateTime_t *datetime)
{
	HAL_StatusTypeDef status;

	RTC_DateTypeDef dateInit;
	dateInit.Year = datetime->Year;
	dateInit.Month = datetime->Month;
	dateInit.Date = datetime->Day;
	//not use weekday but must assign a reasonable value to prevent uncertain error
	dateInit.WeekDay = 1;
	status = HAL_RTC_SetDate(&hrtc, &dateInit, RTC_FORMAT_BIN);

	RTC_TimeTypeDef timeInit;
	timeInit.Hours = datetime->Hours;
	timeInit.Minutes = datetime->Minutes;
	timeInit.Seconds = datetime->Seconds;
	status = HAL_RTC_SetTime(&hrtc, &timeInit, RTC_FORMAT_BIN);

	HAL_RTC_GetDate(&hrtc, &dateInit, RTC_FORMAT_BIN);
	HAL_RTC_GetTime(&hrtc, &timeInit, RTC_FORMAT_BIN);
	return status == HAL_OK;
}

//----- IRQ & callback
void HAL_UARTEx_RxEventCallback(UART_HandleTypeDef *huart, uint16_t Size)
{
	uint16_t size = min(Size, RECV_BUFFER_SIZE - 1);
	recv_buffers[recv_buffer_idx][size] = '\0';
	recv_sizes[recv_buffer_idx] = size;
	recv_buffer_idx = (recv_buffer_idx + 1) % RECV_BUFFER_NUM;
	HAL_UARTEx_ReceiveToIdle_DMA(&huart2, recv_buffers[recv_buffer_idx], RECV_BUFFER_SIZE);
	BaseType_t higherPriority = pdFALSE;
	xTaskNotifyFromISR(recv_htask, 0, eNoAction, &higherPriority);
	portYIELD_FROM_ISR(higherPriority);
}

void HAL_UART_ErrorCallback(UART_HandleTypeDef *huart)
{
	if (huart == NULL || huart->Instance != USART2) {
		return;
	}

	/* Clear UART error flags and restart RX DMA to avoid stuck receive path. */
	__HAL_UART_CLEAR_OREFLAG(huart);
	__HAL_UART_CLEAR_FEFLAG(huart);
	__HAL_UART_CLEAR_NEFLAG(huart);
	__HAL_UART_CLEAR_PEFLAG(huart);
	uart2_rx_restart = true;
	if (recv_htask != NULL) {
		BaseType_t higherPriority = pdFALSE;
		xTaskNotifyFromISR(recv_htask, 0, eNoAction, &higherPriority);
		portYIELD_FROM_ISR(higherPriority);
	}
}

void Build_Weather_Message(char* msg, const char* prefix, uint8_t value)
{
	int len = strlen(prefix);
	memcpy(msg, prefix, len);
	msg[len++] = '-';
	msg[len++] = value / 10 + '0';
	msg[len++] = value % 10 + '0';
	msg[len++] = '\0';
}

static void Ble_Apply_Ip(const char* ip, bool persist, bool reconnect)
{
	if (!ConfigStorage_IsValidIp(ip)) {
		return;
	}

	if (config_mutex != NULL) {
		xSemaphoreTake(config_mutex, portMAX_DELAY);
	}

	strncpy(pending_server_ip, ip, sizeof(pending_server_ip) - 1);
	pending_server_ip[sizeof(pending_server_ip) - 1] = '\0';
	pending_ip_persist = persist;
	pending_ip_reconnect = reconnect;
	pending_ip_update = true;

	if (config_mutex != NULL) {
		xSemaphoreGive(config_mutex);
	}
}

static bool Apply_Server_Ip_Internal(const char* ip, bool persist, bool reconnect)
{
	if (!ConfigStorage_IsValidIp(ip)) {
		return false;
	}

	if (config_mutex != NULL) {
		xSemaphoreTake(config_mutex, portMAX_DELAY);
	}

	server_ready = false;

	if (!Build_Http_Urls(ip)) {
		if (config_mutex != NULL) {
			xSemaphoreGive(config_mutex);
		}
		return false;
	}

	Build_CommHandle(&hcomm, http_device_url, http_weather_url, server_ip, mqtt_port, device_id, &htim13);

	if (persist) {
		ConfigStorage_SaveIp(ip);
	}

	if (reconnect) {
		Post_Logout(&hcomm);
		BaseType_t conn_res = Server_Conn(&hcomm);
		if (conn_res == pdPASS) {
			server_ready = true;
		}
	}

	if (config_mutex != NULL) {
		xSemaphoreGive(config_mutex);
	}

	return true;
}

static bool Build_Http_Urls(const char* ip)
{
	if (!ConfigStorage_IsValidIp(ip)) {
		return false;
	}

	strncpy(server_ip, ip, sizeof(server_ip) - 1);
	server_ip[sizeof(server_ip) - 1] = '\0';

	int device_len = snprintf(http_device_url, sizeof(http_device_url), "http://%s:%s%s",
			server_ip, HTTP_PORT_STR, HTTP_DEVICE_PATH);
	if (device_len <= 0 || device_len >= (int)sizeof(http_device_url)) {
		return false;
	}

	int weather_len = snprintf(http_weather_url, sizeof(http_weather_url), "http://%s:%s%s",
			server_ip, HTTP_PORT_STR, HTTP_WEATHER_PATH);
	if (weather_len <= 0 || weather_len >= (int)sizeof(http_weather_url)) {
		return false;
	}

	return true;
}

static bool Try_Server_Connect(bool sync_time)
{
	static bool ble_started = false;

	if (sync_time) {
		LCD_SetContent_Refresh(&hi2c1, &lcd_content, "Init...", ".");
	}

	if (ESP32AT_InitWrapper() != pdPASS) {
		server_ready = false;
		return false;
	}

	if (!ble_started) {
		Ble_Config_Init();
		ble_started = true;
	}

	if (Server_Conn(&hcomm) != pdPASS) {
		server_ready = false;
		return false;
	}

	server_ready = true;

	if (sync_time) {
		Web_Fetch_Time(&hcomm, &query_time);
	}

	return true;
}

void vApplicationStackOverflowHook(TaskHandle_t xTask, char * pcTaskName )
{
   // log_error ( "STACK OVERFLOW DETECTED: ", pcTaskName );
}
/* USER CODE END 4 */

void HAL_TIM_PeriodElapsedCallback(TIM_HandleTypeDef *htim)
{
  if (htim->Instance == TIM6) {
    HAL_IncTick();
  }
}

void Error_Handler(void)
{
  /* USER CODE BEGIN Error_Handler_Debug */
	/* User can add his own implementation to report the HAL error return state */
	__disable_irq();
	while (1)
	{
		HAL_GPIO_TogglePin(GPIOD, 14);
	    HAL_Delay(500);
	}
  /* USER CODE END Error_Handler_Debug */
}
